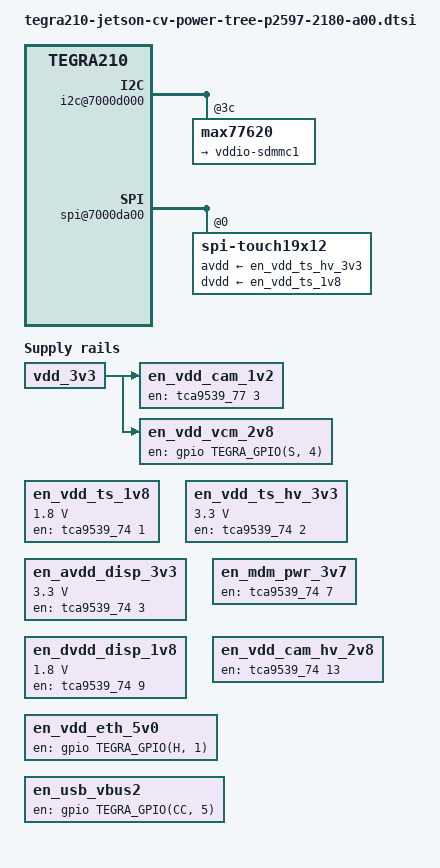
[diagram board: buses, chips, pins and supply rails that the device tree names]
/*
 * Copyright (c) 2015-2016, NVIDIA CORPORATION.  All rights reserved.
 *
 * This program is free software; you can redistribute it and/or modify
 * it under the terms of the GNU General Public License as published by
 * the Free Software Foundation; version 2 of the License.
 *
 * This program is distributed in the hope that it will be useful, but WITHOUT
 * ANY WARRANTY; without even the implied warranty of MERCHANTABILITY or
 * FITNESS FOR A PARTICULAR PURPOSE.  See the GNU General Public License for
 * more details.
 *
 */

#include <dt-bindings/padctrl/tegra210-pads.h>
#include "tegra210-jetson-common-power-tree-p2530-0930-e03.dtsi"

/ {

	i2c@7000d000 {
		max77620@3c {
			pinmux@0 {
				pin_gpio1 {
					maxim,active-fps-source = <MAX77620_FPS_SRC_NONE>;
					maxim,active-fps-power-up-slot = <0>;
					maxim,active-fps-power-down-slot = <7>;
				};

				pin_gpio2 {
					pins = "gpio2";
					maxim,active-fps-source = <MAX77620_FPS_SRC_0>;
					maxim,active-fps-power-up-slot = <0>;
					maxim,active-fps-power-down-slot = <7>;
				};

				pin_gpio3 {
					pins = "gpio3";
					maxim,active-fps-source = <MAX77620_FPS_SRC_0>;
					maxim,active-fps-power-up-slot = <4>;
					maxim,active-fps-power-down-slot = <3>;
				};
			};

			fps {
				fps0 {
					maxim,shutdown-fps-time-period-us = <1280>;
				};

				fps1 {
					maxim,shutdown-fps-time-period-us = <1280>;
				};
			};

			regulators {
				sd0 {
					maxim,active-fps-source = <MAX77620_FPS_SRC_1>;
					maxim,active-fps-power-up-slot = <1>;
					maxim,active-fps-power-down-slot = <6>;
					regulator-ramp-delay = <27500>;
				};

				sd1 {
					maxim,active-fps-source = <MAX77620_FPS_SRC_0>;
					maxim,active-fps-power-up-slot = <5>;
					maxim,active-fps-power-down-slot = <2>;
					regulator-ramp-delay = <27500>;
				};

				sd2 {
					maxim,active-fps-source = <MAX77620_FPS_SRC_1>;
					maxim,active-fps-power-up-slot = <2>;
					maxim,active-fps-power-down-slot = <5>;
					regulator-ramp-delay = <27500>;
				};

				sd3 {
					maxim,active-fps-source = <MAX77620_FPS_SRC_0>;
					maxim,active-fps-power-up-slot = <3>;
					maxim,active-fps-power-down-slot = <4>;
					regulator-ramp-delay = <27500>;
				};

				sd4 {
					maxim,active-fps-source = <MAX77620_FPS_SRC_NONE>;
					maxim,active-fps-power-up-slot = <0>;
					maxim,active-fps-power-down-slot = <7>;
					regulator-ramp-delay = <27500>;
				};

				ldo0 {
					maxim,active-fps-source = <MAX77620_FPS_SRC_NONE>;
					maxim,active-fps-power-up-slot = <0>;
					maxim,active-fps-power-down-slot = <7>;
					regulator-enable-ramp-delay = <84>;
					regulator-disable-ramp-delay = <14700>;
					regulator-ramp-delay = <100000>;
					regulator-ramp-delay-scale = <750>;
				};

				ldo1 {
					maxim,active-fps-source = <MAX77620_FPS_SRC_0>;
					maxim,active-fps-power-up-slot = <0>;
					maxim,active-fps-power-down-slot = <3>;
					regulator-enable-ramp-delay = <34>;
					regulator-disable-ramp-delay = <660>;
					regulator-ramp-delay = <100000>;
					regulator-ramp-delay-scale = <350>;
				};

				ldo2 {
					regulator-name = "vddio-sdmmc1";
					maxim,active-fps-source = <MAX77620_FPS_SRC_NONE>;
					maxim,active-fps-power-up-slot = <0>;
					maxim,active-fps-power-down-slot = <7>;
					regulator-enable-ramp-delay = <300>;
					regulator-disable-ramp-delay = <64000>;
					regulator-ramp-delay = <100000>;
					regulator-ramp-delay-scale = <950>;
				};

				ldo3 {
					maxim,active-fps-source = <MAX77620_FPS_SRC_NONE>;
					maxim,active-fps-power-up-slot = <0>;
					maxim,active-fps-power-down-slot = <7>;
					regulator-ramp-delay = <100000>;
				};

				ldo4 {
					maxim,active-fps-source = <MAX77620_FPS_SRC_0>;
					maxim,active-fps-power-up-slot = <1>;
					maxim,active-fps-power-down-slot = <6>;
					regulator-enable-ramp-delay = <23>;
					regulator-disable-ramp-delay = <1100>;
					regulator-ramp-delay = <100000>;
					regulator-ramp-delay-scale = <250>;
				};

				ldo5 {
					maxim,active-fps-source = <MAX77620_FPS_SRC_NONE>;
					maxim,active-fps-power-up-slot = <0>;
					maxim,active-fps-power-down-slot = <7>;
					regulator-ramp-delay = <100000>;
				};

				ldo6 {
					maxim,active-fps-source = <MAX77620_FPS_SRC_NONE>;
					maxim,active-fps-power-up-slot = <0>;
					maxim,active-fps-power-down-slot = <7>;
					regulator-ramp-delay = <100000>;
				};

				ldo7 {
					maxim,active-fps-source = <MAX77620_FPS_SRC_1>;
					maxim,active-fps-power-up-slot = <3>;
					maxim,active-fps-power-down-slot = <4>;
					regulator-enable-ramp-delay = <124>;
					regulator-disable-ramp-delay = <24000>;
					regulator-ramp-delay = <100000>;
					regulator-ramp-delay-scale = <1200>;
				};

				ldo8 {
					maxim,active-fps-source = <MAX77620_FPS_SRC_1>;
					maxim,active-fps-power-up-slot = <6>;
					maxim,active-fps-power-down-slot = <1>;
					regulator-enable-ramp-delay = <93>;
					regulator-disable-ramp-delay = <10000>;
					regulator-ramp-delay = <100000>;
					regulator-ramp-delay-scale = <900>;
				};
			};
		};
	};

	regulators {
		compatible = "simple-bus";
		device_type = "fixed-regulators";
		#address-cells = <1>;
		#size-cells = <0>;

		max77620_gpio7: regulator@2 {
			regulator-min-microvolt = <1050000>;
			regulator-max-microvolt = <1050000>;
			vin-supply = <&max77620_ldo7>;
		};

		en_vdd_sd: regulator@4 {
			gpio = <&gpio TEGRA_GPIO(Z, 3) 0>;
		};

		en_vdd_cam: regulator@5 {
			gpio = <&tca9539_77 9 1>;
		};

		vdd_hdmi: regulator@7 {
			gpio = <&tca9539_74 12 1>;
			vin-supply = <&vdd_3v3>;
		};

		vdd_fan: regulator@13 {
			gpio = <&tca9539_74 4 0>;
		};

		en_vdd_ts_1v8: regulator@201 {
			compatible = "regulator-fixed-sync";
			reg = <201>;
			regulator-name = "en-vdd-ts-1v8";
			regulator-min-microvolt = <1800000>;
			regulator-max-microvolt = <1800000>;
			gpio = <&tca9539_74 1 1>;
			enable-active-high;
		};

		en_vdd_ts_hv_3v3: regulator@202 {
			compatible = "regulator-fixed-sync";
			reg = <202>;
			regulator-name = "en-vdd-ts-hv-3v3";
			regulator-min-microvolt = <3300000>;
			regulator-max-microvolt = <3300000>;
			gpio = <&tca9539_74 2 1>;
			enable-active-high;
		};

		en_avdd_disp_3v3: regulator@203 {
			compatible = "regulator-fixed-sync";
			reg = <203>;
			regulator-name = "en-vdd-disp-3v3";
			regulator-min-microvolt = <3300000>;
			regulator-max-microvolt = <3300000>;
			regulator-boot-on;
			gpio = <&tca9539_74 3 1>;
			enable-active-high;
		};


		en_mdm_pwr_3v7: regulator@204 {
			compatible = "regulator-fixed-sync";
			reg = <204>;
			regulator-name = "en-mdm-pwr-3v7";
			regulator-min-microvol = <3700000>;
			regulator-max-microvol = <3700000>;
			gpio = <&tca9539_74 7 1>;
			enable-active-high;
		};

		en_dvdd_disp_1v8: regulator@205 {
			compatible = "regulator-fixed-sync";
			reg = <205>;
			regulator-name = "en-vdd-disp-1v8";
			regulator-min-microvolt = <1800000>;
			regulator-max-microvolt = <1800000>;
			regulator-boot-on;
			gpio = <&tca9539_74 9 1>;
			enable-active-high;
		};

		en_vdd_cam_hv_2v8: regulator@206 {
			compatible = "regulator-fixed-sync";
			reg = <206>;
			regulator-name = "en-vdd-cam-hv-2v8";
			regulator-min-microvol = <2800000>;
			regulator-max-microvol = <2800000>;
			gpio = <&tca9539_74 13 1>;
			enable-active-high;
		};

		en_vdd_eth_5v0: regulator@207 {
			compatible = "regulator-fixed-sync";
			reg = <207>;
			regulator-name = "rtl-5v0";
			regulator-min-microvol = <5000000>;
			regulator-max-microvol = <5000000>;
			gpio = <&gpio TEGRA_GPIO(H, 1) 0>;
			enable-active-high;
		};

		en_usb_vbus2: regulator@208 {
			compatible = "regulator-fixed-sync";
			reg = <208>;
			regulator-name = "en-usb-vbus2";
			regulator-min-microvol = <5000000>;
			regulator-max-microvol = <5000000>;
			gpio = <&gpio TEGRA_GPIO(CC, 5) 0>;
			enable-active-high;
		};

		en_vdd_cam_1v2: regulator@209 {
			compatible = "regulator-fixed-sync";
			reg = <209>;
			regulator-name = "en-vdd-cam-1v2";
			regulator-min-microvol = <1200000>;
			regulator-max-microvol = <1200000>;
			vin-supply = <&vdd_3v3>;
			gpio = <&tca9539_77 3 1>;
			enable-active-high;
		};

		en_vdd_vcm_2v8: regulator@210 {
			compatible = "regulator-fixed-sync";
			reg = <210>;
			regulator-name = "en-vdd-vcm-2v8";
			regulator-min-microvol = <2800000>;
			regulator-max-microvol = <2800000>;
			vin-supply = <&vdd_3v3>;
			gpio = <&gpio TEGRA_GPIO(S, 4) 0>;
			enable-active-high;
		};
	};

	host1x {
		dc@54200000 {
			avdd_dsi_csi-supply = <&max77620_ldo0>;
			avdd_lcd-supply = <&en_avdd_disp_3v3>;
			dvdd_lcd-supply = <&en_dvdd_disp_1v8>;
			vdd_lcd_bl_en-supply = <&lcd_bl_en>;
			vdd_lcd_bl-supply = <&vdd_3v3>;

			/* eDP */
			vdd_ds_1v8-supply  = <&en_dvdd_disp_1v8>;
			avdd_io_edp-supply = <&max77620_gpio7>;
		};

		vi {
			avdd_dsi_csi-supply = <&max77620_ldo0>;
		};
	};

	pwm-fan {
		vdd-fan-supply = <&vdd_fan>;
	};

	otg@7d000000 {
		usb_vbus-supply = <&usb_vbus1>;
	};

	xusb@70090000 {
		usb_vbus1-supply = <&en_vdd_eth_5v0>;
		usb_vbus2-supply = <&en_usb_vbus2>;
	};

	spi@7000da00 {
		spi-touch19x12@0 {
			avdd-supply = <&en_vdd_ts_hv_3v3>;
			dvdd-supply = <&en_vdd_ts_1v8>;
		};
	};

	pmc-iopower {
		iopower-sys-supply = <&max77620_sd3>;
		iopower-uart-supply = <&max77620_sd3>;
		iopower-audio-supply = <&max77620_sd3>;
		iopower-cam-supply = <&max77620_sd3>;
		iopower-pex-ctrl-supply = <&max77620_sd3>;
		iopower-sdmmc1-supply = <&max77620_ldo2>;
		iopower-sdmmc3-supply = <&max77620_sd3>;
		iopower-sdmmc4-supply = <&max77620_sd3>;
		iopower-audio-hv-supply = <&max77620_sd3>;
		iopower-debug-supply = <&max77620_sd3>;
		iopower-dmic-supply = <&max77620_sd3>;
		iopower-gpio-supply = <&max77620_sd3>;
		iopower-spi-supply = <&max77620_sd3>;
		iopower-spi-hv-supply = <&max77620_sd3>;
		iopower-sdmmc2-supply = <&max77620_sd3>;
		iopower-dp-supply = <&max77620_sd3>;
	};

	pmc@7000e400 {
		io-pad-defaults {
			audio-hv {
				nvidia,io-pad-init-voltage = <IO_PAD_VOLTAGE_1_8V>;
			};

			spi-hv {
				nvidia,io-pad-init-voltage = <IO_PAD_VOLTAGE_1_8V>;
			};

			gpio {
				nvidia,io-pad-init-voltage = <IO_PAD_VOLTAGE_1_8V>;
			};
			sdmmc3 {
				nvidia,io-pad-init-voltage = <IO_PAD_VOLTAGE_1_8V>;
			};
		};
	};
};
